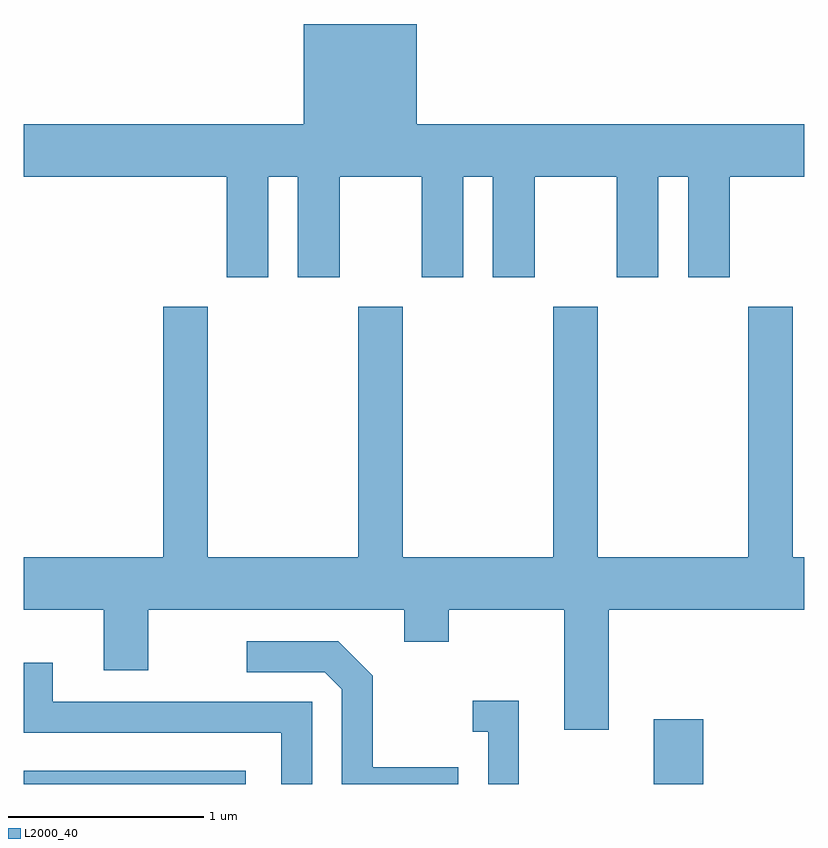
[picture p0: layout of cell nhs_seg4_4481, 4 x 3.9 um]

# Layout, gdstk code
import gdstk
lib = gdstk.Library(unit=1e-6, precision=1e-09)
def R(c, l, rs):  # rectangles x0, y0, x1, y1
    for r in rs: c.add(gdstk.rectangle(r[:2], r[2:], *l))
def P(c, l, *ps):  # polygons
    for p in ps: c.add(gdstk.Polygon(p, *l))
L2000_40 = (2000, 40)

nhs_seg4_4481 = lib.new_cell('nhs_seg4_4481')
R(nhs_seg4_4481, L2000_40, [(315.611,1375.982,316.749,1376.049), (318.841,1375.982,319.094,1376.314)])
P(nhs_seg4_4481, L2000_40, [(316.864,1379.096),(317.016,1379.096),(317.016,1378.581),(317.229,1378.581),(317.229,1379.096),(317.651,1379.096),(317.651,1378.581),(317.864,1378.581),(317.864,1379.096),(318.016,1379.096),(318.016,1378.581),(318.229,1378.581),(318.229,1379.096),(318.651,1379.096),(318.651,1378.581),(318.864,1378.581),(318.864,1379.096),(319.016,1379.096),(319.016,1378.581),(319.229,1378.581),(319.229,1379.096),(319.611,1379.096),(319.611,1379.364),(317.624,1379.364),(317.624,1379.879),(317.046,1379.879),(317.046,1379.364),(315.611,1379.364),(315.611,1379.096),(316.651,1379.096),(316.651,1378.581),(316.864,1378.581)],
  [(318.609,1376.876),(319.611,1376.876),(319.611,1377.144),(319.554,1377.144),(319.554,1378.429),(319.326,1378.429),(319.326,1377.144),(318.554,1377.144),(318.554,1378.429),(318.326,1378.429),(318.326,1377.144),(317.554,1377.144),(317.554,1378.429),(317.326,1378.429),(317.326,1377.144),(316.554,1377.144),(316.554,1378.429),(316.326,1378.429),(316.326,1377.144),(315.611,1377.144),(315.611,1376.876),(316.021,1376.876),(316.021,1376.566),(316.249,1376.566),(316.249,1376.876),(317.561,1376.876),(317.561,1376.711),(317.789,1376.711),(317.789,1376.876),(318.381,1376.876),(318.381,1376.261),(318.609,1376.261)],
  [(317.839,1376.069),(317.399,1376.069),(317.399,1376.537),(317.222,1376.714),(316.753,1376.714),(316.753,1376.556),(317.154,1376.556),(317.241,1376.469),(317.241,1375.982),(317.839,1375.982)],
  [(317.089,1376.404),(315.759,1376.404),(315.759,1376.603),(315.611,1376.603),(315.611,1376.246),(316.931,1376.246),(316.931,1375.982),(317.089,1375.982)],
  [(318.149,1376.409),(317.913,1376.409),(317.913,1376.251),(317.991,1376.251),(317.991,1375.982),(318.149,1375.982)])

lib.write_gds('nhs_seg4_4481.gds')
